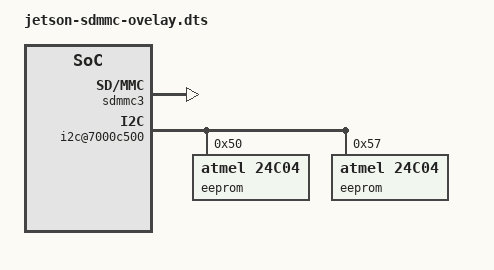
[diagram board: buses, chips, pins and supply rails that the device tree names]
/*
 * Copyright (C) 2022 Seeed Studio
 *
 * MIT License
 *
 */

/dts-v1/;
/plugin/;

#include <dt-bindings/pinctrl/tegra210-p3448-0000-p3449-0000-a02.h>
#include <dt-bindings/pinctrl/pinctrl-tegra.h>

/ {
        overlay-name = "reComputer sdmmc";
        jetson-header-name = "Jetson 40pin Header";
        compatible = JETSON_COMPATIBLE, "nvidia,p3449-0000-b00+p3448-0002-b00";

        fragment@0 {
                target = <&sdmmc3>;
                __overlay__ {
                        status = "okay";
                };
        };

        fragment@1 {
                target-path = "/i2c@7000c500";
                __overlay__ {
                        #address-cells = <1>;
                        #size-cells = <0>;
                        status = "okay";
                        eeprom@50 {
                                compatible = "atmel,24c04";
                                reg = <0x50>;
                                pagesize = <0x10>;
                        };

                        eeprom@57 {
                                compatible = "atmel,24c04";
                                reg = <0x57>;
                                pagesize = <0x10>;
                        };
                };
        };
};
